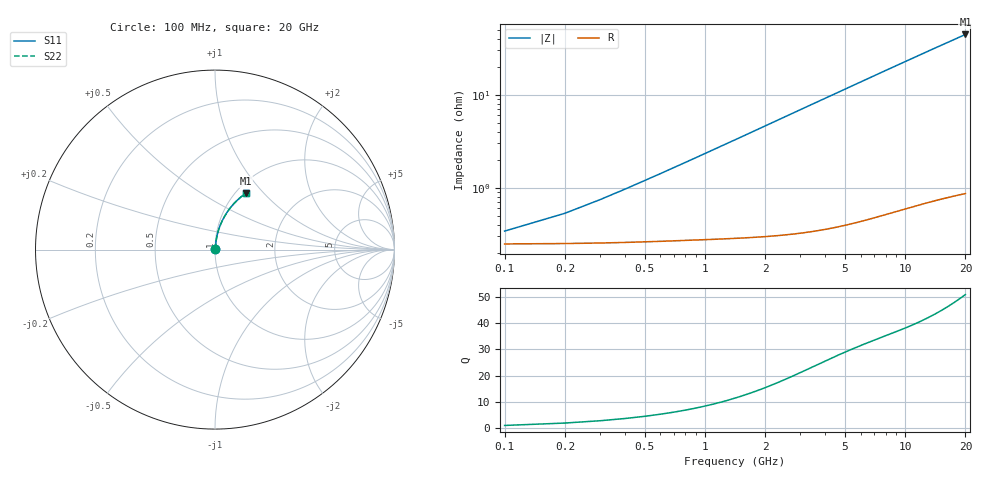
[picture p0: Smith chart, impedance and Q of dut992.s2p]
! Touchstone file exported from HFSS 2026.1.0
!  File:  C:/ffzhzh/LocalFiles/Ansys_Project_Files/temp_train_BSMRDL_992_1783172963_22436.aedt
!  Generated:  09:50:38 PM Jul  4, 2026
!  Design:  BSMRDL
!  Project:  temp_train_BSMRDL_992_1783172963_22436
! Variables:
!  h_bsmrdl = 3.93um
!  h_ox = 20um
!  h_rdl = 5um
!  h_sub = 80um
!  h_tmrdl = 5um
!  h_tsv = 80um
!  h_via = 3um
!  l_bsmrdl = 285.02um
!  l_sub = 685.02um
!  l_tmrdl = 200um
!  m_sub = 200um
!  pitch = 58.06um
!  r_tsv = 6um
!  s_tmrdl = 10um
!  w_bsmrdl = 10.73um
!  w_sub = 500um
!  w_tmrdl = 12um
!  x_tsv_center1 = 206um
!  x_tsv_center2 = 501.75um
!  x_tsv_center3 = 713.75um
!  x_tsv_center4 = 1009.5um
!  x_tsv_center5 = 1221.5um
!  x_tsv_center6 = 1517.25um
# GHz S MA R 50.000000
! Terminal data exported
! Port[1] = BSM_RDL1_1_T1
! Port[2] = BSM_RDL1_1_T2
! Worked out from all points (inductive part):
!   200 points, 100 MHz to 20 GHz, reference 50 ohm
!   read as one part in series: L = 370 pH near 400 MHz
!   highest Q = 51 at 20 GHz (marker M1), where L = 352 pH
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0.1  0.003232 39.5  0.9975 -0.2  0.9975 -0.2  0.003232 39.5
! Gamma 0 0 0 0
! Port Impedance 50 0 50 0
0.2  0.004822 58.3  0.9975 -0.3  0.9975 -0.3  0.004822 58.3
0.3  0.006663 67.1  0.9974 -0.4  0.9974 -0.4  0.006663 67.1
0.4  0.008586 71.9  0.9974 -0.6  0.9974 -0.6  0.008586 71.9
0.5  0.01054 74.9  0.9973 -0.7  0.9973 -0.7  0.01054 74.9
0.6  0.01251 76.9  0.9973 -0.9  0.9973 -0.9  0.01251 76.9
0.8  0.01646 79.3  0.9972 -1.2  0.9972 -1.2  0.01646 79.3
1.1  0.02241 81.2  0.997 -1.6  0.997 -1.6  0.02241 81.2
1.5  0.03037 82.4  0.9967 -2.2  0.9967 -2.2  0.03037 82.4
1.8  0.03634 82.7  0.9964 -2.7  0.9964 -2.7  0.03634 82.7
2.1  0.04231 82.8  0.9961 -3.1  0.9961 -3.1  0.04231 82.8
2.7  0.05423 82.7  0.9954 -4.0  0.9954 -4.0  0.05423 82.7
3.5  0.07006 82.1  0.9942 -5.1  0.9942 -5.1  0.07006 82.1
4.2  0.08381 81.4  0.9929 -6.2  0.9929 -6.2  0.08382 81.4
5  0.09941 80.4  0.9911 -7.3  0.9911 -7.3  0.09941 80.4
5.9  0.1168 79.3  0.9889 -8.6  0.9889 -8.6  0.1168 79.3
6.8  0.134 78.1  0.9864 -9.9  0.9864 -9.9  0.134 78.1
8.3  0.1621 76.2  0.9816 -12.0  0.9816 -12.0  0.1621 76.2
10.1  0.1951 73.8  0.975 -14.5  0.975 -14.5  0.1951 73.8
13.4  0.253 69.5  0.9607 -19.0  0.9607 -19.0  0.253 69.5
16.7  0.3075 65.3  0.9441 -23.3  0.9441 -23.3  0.3075 65.3
20  0.3582 61.2  0.9256 -27.5  0.9256 -27.5  0.3582 61.2
